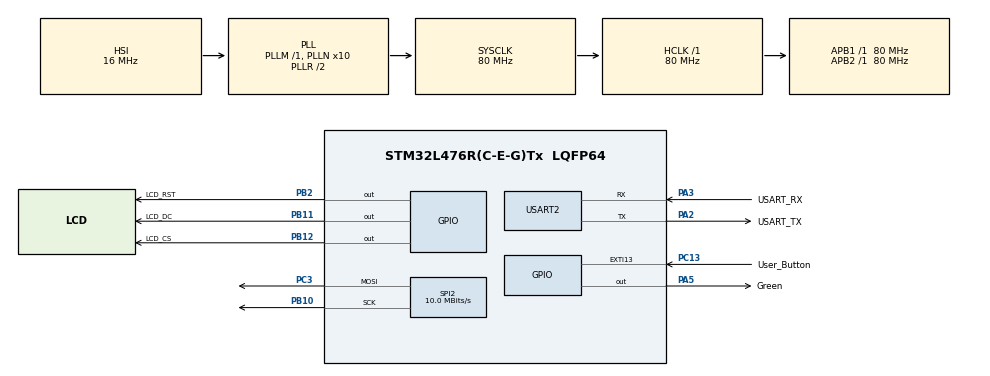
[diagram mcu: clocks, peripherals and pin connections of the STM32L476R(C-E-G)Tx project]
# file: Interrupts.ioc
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Mcu.Family=STM32L4
Mcu.Name=STM32L476R(C-E-G)Tx
Mcu.Package=LQFP64
NVIC.EXTI15_10_IRQn=true\:0\:0\:false\:false\:true\:true\:true\:true
NVIC.PriorityGroup=NVIC_PRIORITYGROUP_4
PA13\ (JTMS-SWDIO).GPIO_Label=TMS
PA13\ (JTMS-SWDIO).Mode=Serial_Wire
PA13\ (JTMS-SWDIO).Signal=SYS_JTMS-SWDIO
PA14\ (JTCK-SWCLK).GPIO_Label=TCK
PA14\ (JTCK-SWCLK).Mode=Serial_Wire
PA14\ (JTCK-SWCLK).Signal=SYS_JTCK-SWCLK
PA2.GPIO_Label=USART_TX
PA2.GPIO_Mode=GPIO_MODE_AF_PP
PA2.GPIO_PuPd=GPIO_NOPULL
PA2.GPIO_Speed=GPIO_SPEED_FREQ_VERY_HIGH
PA2.Mode=Asynchronous
PA2.Signal=USART2_TX
PA3.GPIO_Label=USART_RX
PA3.GPIO_Mode=GPIO_MODE_AF_PP
PA3.GPIO_PuPd=GPIO_NOPULL
PA3.GPIO_Speed=GPIO_SPEED_FREQ_VERY_HIGH
PA3.Mode=Asynchronous
PA3.Signal=USART2_RX
PA5.GPIO_Label=Green
PA5.GPIO_ModeDefaultOutputPP=GPIO_MODE_OUTPUT_PP
PA5.GPIO_PuPd=GPIO_NOPULL
PA5.GPIO_Speed=GPIO_SPEED_FREQ_LOW
PA5.Signal=GPIO_Output
PB10.Mode=TX_Only_Simplex_Unidirect_Master
PB10.Signal=SPI2_SCK
PB11.GPIO_Label=LCD_DC
PB11.Signal=GPIO_Output
PB12.GPIO_Label=LCD_CS
PB12.PinState=GPIO_PIN_SET
PB12.Signal=GPIO_Output
PB2.GPIO_Label=LCD_RST
PB2.Signal=GPIO_Output
PB3\ (JTDO-TRACESWO).GPIO_Label=SWO
PB3\ (JTDO-TRACESWO).Signal=SYS_JTDO-SWO
PC13.GPIO_Label=User_Button
PC13.GPIO_ModeDefaultEXTI=GPIO_MODE_IT_FALLING
PC13.GPIO_PuPd=GPIO_NOPULL
PC13.Signal=GPXTI13
PC14-OSC32_IN\ (PC14).Mode=LSE-External-Oscillator
PC14-OSC32_IN\ (PC14).Signal=RCC_OSC32_IN
PC15-OSC32_OUT\ (PC15).Mode=LSE-External-Oscillator
PC15-OSC32_OUT\ (PC15).Signal=RCC_OSC32_OUT
PC3.Mode=TX_Only_Simplex_Unidirect_Master
PC3.Signal=SPI2_MOSI
PH0-OSC_IN\ (PH0).Signal=RCC_OSC_IN
PH1-OSC_OUT\ (PH1).Signal=RCC_OSC_OUT
ProjectManager.HeapSize=0x200
ProjectManager.StackSize=0x400
ProjectManager.TargetToolchain=STM32CubeIDE
RCC.ADCFreq_Value=64000000
RCC.AHBFreq_Value=80000000
RCC.APB1Freq_Value=80000000
RCC.APB1TimFreq_Value=80000000
RCC.APB2Freq_Value=80000000
RCC.APB2TimFreq_Value=80000000
RCC.CortexFreq_Value=80000000
RCC.HCLKFreq_Value=80000000
RCC.HSE_VALUE=8000000
RCC.HSI_VALUE=16000000
RCC.MSI_VALUE=4000000
RCC.PLLN=10
RCC.PLLSourceVirtual=RCC_PLLSOURCE_HSI
RCC.PREFETCH_ENABLE=1
RCC.SYSCLKFreq_VALUE=80000000
RCC.SYSCLKSource=RCC_SYSCLKSOURCE_PLLCLK
RCC.USBFreq_Value=64000000
RCC.VCOOutputFreq_Value=160000000
SPI2.BaudRatePrescaler=SPI_BAUDRATEPRESCALER_8
SPI2.CalculateBaudRate=10.0 MBits/s
SPI2.DataSize=SPI_DATASIZE_8BIT
SPI2.Direction=SPI_DIRECTION_2LINES
SPI2.Mode=SPI_MODE_MASTER
SPI2.NSSPMode=SPI_NSS_PULSE_DISABLE
SPI2.VirtualType=VM_MASTER
USART2.VirtualMode-Asynchronous=VM_ASYNC
board=NUCLEO-L476RG

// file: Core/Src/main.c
/* USER CODE BEGIN Header */
/**
  ******************************************************************************
  * @file           : main.c
  * @brief          : Main program body
  ******************************************************************************
  * @attention
  *
  * Copyright (c) 2024 STMicroelectronics.
  * All rights reserved.
  *
  * This software is licensed under terms that can be found in the LICENSE file
  * in the root directory of this software component.
  * If no LICENSE file comes with this software, it is provided AS-IS.
  *
  ******************************************************************************
  */
/* USER CODE END Header */
#include "main.h"
#include "spi.h"
#include "usart.h"
#include "gpio.h"

/* USER CODE BEGIN Includes */
#include "lcd.h"
#include "MilegoDnia.c"
/* USER CODE END Includes */

void SystemClock_Config(void);

/* USER CODE BEGIN 0 */
void HAL_GPIO_EXTI_Callback(uint16_t GPIO_Pin)
{
  if (GPIO_Pin == User_Button_Pin) {
	  HAL_GPIO_TogglePin(Green_GPIO_Port, Green_Pin);
  }
}
/* USER CODE END 0 */

int main(void)
{

  /* MCU Configuration--------------------------------------------------------*/

  /* Reset of all peripherals, Initializes the Flash interface and the Systick. */
  HAL_Init();

  /* Configure the system clock */
  SystemClock_Config();

  /* Initialize all configured peripherals */
  MX_GPIO_Init();
  MX_USART2_UART_Init();
  MX_SPI2_Init();

  /* Infinite loop */
  /* USER CODE BEGIN WHILE */
  lcd_init();
  lcd_fill_box(0, 0, 160, 16, RED);
  lcd_fill_box(0, 16, 160, 16, GREEN);
  lcd_fill_box(0, 32, 160, 16, BLUE);
  lcd_fill_box(0, 48, 160, 16, YELLOW);
  lcd_fill_box(0, 64, 160, 16, MAGENTA);
  lcd_fill_box(0, 80, 160, 16, CYAN);
  lcd_fill_box(0, 96, 160, 16, WHITE);
  lcd_fill_box(0, 112, 160, 16, BLACK);
  for (int i = 0; i < 128; i++) {
    lcd_put_pixel(i,  i, RED);
    lcd_put_pixel(127 - i,  i, RED);
  }
  lcd_draw_image(16, 0, 128, 128, Milego_Dnia);
  while (1)
  {
    /* USER CODE END WHILE */

  }
}

void SystemClock_Config(void)
{
  RCC_OscInitTypeDef RCC_OscInitStruct = {0};
  RCC_ClkInitTypeDef RCC_ClkInitStruct = {0};

  /** Configure the main internal regulator output voltage
  */
  if (HAL_PWREx_ControlVoltageScaling(PWR_REGULATOR_VOLTAGE_SCALE1) != HAL_OK)
  {
    Error_Handler();
  }

  /** Initializes the RCC Oscillators according to the specified parameters
  * in the RCC_OscInitTypeDef structure.
  */
  RCC_OscInitStruct.OscillatorType = RCC_OSCILLATORTYPE_HSI;
  RCC_OscInitStruct.HSIState = RCC_HSI_ON;
  RCC_OscInitStruct.HSICalibrationValue = RCC_HSICALIBRATION_DEFAULT;
  RCC_OscInitStruct.PLL.PLLState = RCC_PLL_ON;
  RCC_OscInitStruct.PLL.PLLSource = RCC_PLLSOURCE_HSI;
  RCC_OscInitStruct.PLL.PLLM = 1;
  RCC_OscInitStruct.PLL.PLLN = 10;
  RCC_OscInitStruct.PLL.PLLP = RCC_PLLP_DIV7;
  RCC_OscInitStruct.PLL.PLLQ = RCC_PLLQ_DIV2;
  RCC_OscInitStruct.PLL.PLLR = RCC_PLLR_DIV2;
  if (HAL_RCC_OscConfig(&RCC_OscInitStruct) != HAL_OK)
  {
    Error_Handler();
  }

  /** Initializes the CPU, AHB and APB buses clocks
  */
  RCC_ClkInitStruct.ClockType = RCC_CLOCKTYPE_HCLK|RCC_CLOCKTYPE_SYSCLK
                              |RCC_CLOCKTYPE_PCLK1|RCC_CLOCKTYPE_PCLK2;
  RCC_ClkInitStruct.SYSCLKSource = RCC_SYSCLKSOURCE_PLLCLK;
  RCC_ClkInitStruct.AHBCLKDivider = RCC_SYSCLK_DIV1;
  RCC_ClkInitStruct.APB1CLKDivider = RCC_HCLK_DIV1;
  RCC_ClkInitStruct.APB2CLKDivider = RCC_HCLK_DIV1;

  if (HAL_RCC_ClockConfig(&RCC_ClkInitStruct, FLASH_LATENCY_4) != HAL_OK)
  {
    Error_Handler();
  }
}

void Error_Handler(void)
{
  __disable_irq();
  while (1)
  {
  }
}
